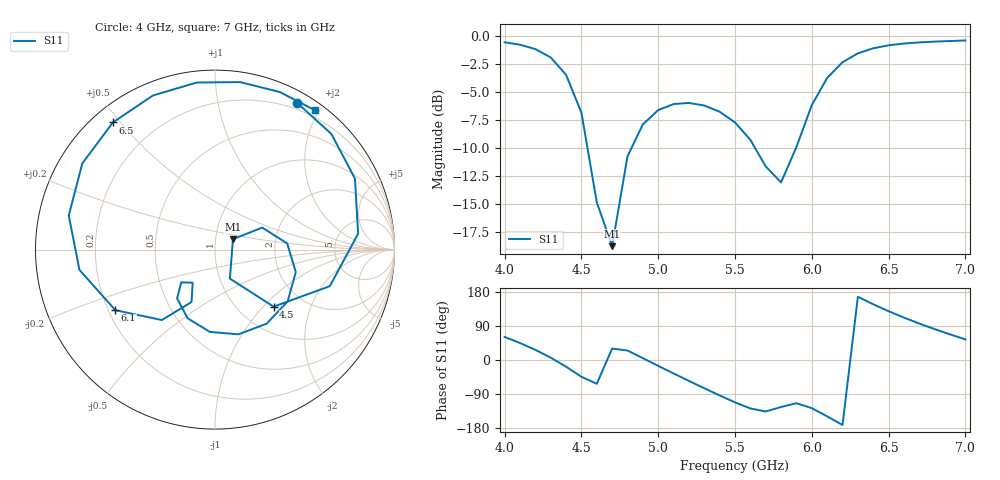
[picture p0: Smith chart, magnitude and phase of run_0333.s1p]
! Touchstone file exported from HFSS 2024.2.0
!  File:  C:/Users/wsak9/Desktop/Sim Fast/Widenad Patch/WP_AI_V1_sweep.aedt
!  Generated:  05:06:19 AM Oct 14, 2026
!  Design:  A1_model
!  Project:  WP_AI_V1_sweep
!  Setup:  Setup1
!  Solution:  Sweep
! Variables:
!  Air_gap = 2.05mm
!  Curve_Amp1 = 0.69
!  Curve_len1 = 1
!  Curve_pos = 11.525mm
!  Extra = 6.94mm
!  H_sub = 0.79mm
!  L_Patch = 19.05mm
!  L_Patch1 = 18.39mm
!  Sx = 4.08mm
!  Sy = 3.36mm
!  WS = 0.88mm
!  W_Patch = 20.37mm
!  W_Patch1 = 11.45mm
!Data is not renormalized
# GHz S MA
! Terminal data exported
! Port[1] = 1
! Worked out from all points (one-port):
!   31 points, 4 GHz to 7 GHz, reference per port
!   lowest |S11| = -18.7 dB at 4.7 GHz (marker M1), VSWR 1.26
!   |S11| at or under -10 dB: 4.54 GHz to 4.826 GHz (286.2 MHz wide, 6.11 % of centre); 5.631 GHz to 5.897 GHz (265.7 MHz wide, 4.61 % of centre)
!   S11 on the Smith chart (normalised r, x): 4 GHz: 0.13, +1.70; 4.5 GHz: 1.43, -1.15; 6.1 GHz: 0.23, -0.27; 6.5 GHz: 0.06, +0.48; 7 GHz: 0.11, +1.94
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4  0.9371 60.8
4.1  0.9141 44.8
4.2  0.8744 26.9
4.3  0.8024 6.3
4.4  0.6715 -17.7
4.5  0.4558 -44.2
4.6  0.1816 -62.8
4.7  0.1156 30.1
4.8  0.2904 25.0
4.9  0.4037 4.9
5  0.4673 -15.6
5.2  0.5031 -55.1
5.3  0.4899 -74.5
5.5  0.4117 -111.8
5.6  0.3442 -127.8
5.7  0.2622 -135.9
5.8  0.2224 -124.0
5.9  0.3199 -114.1
6  0.4918 -127.1
6.1  0.6499 -148.7
6.2  0.7638 -171.5
6.3  0.8367 166.9
6.4  0.8814 147.0
6.5  0.9088 128.8
6.6  0.9256 111.9
6.7  0.9363 96.2
6.8  0.9437 81.5
7  0.9551 54.5
